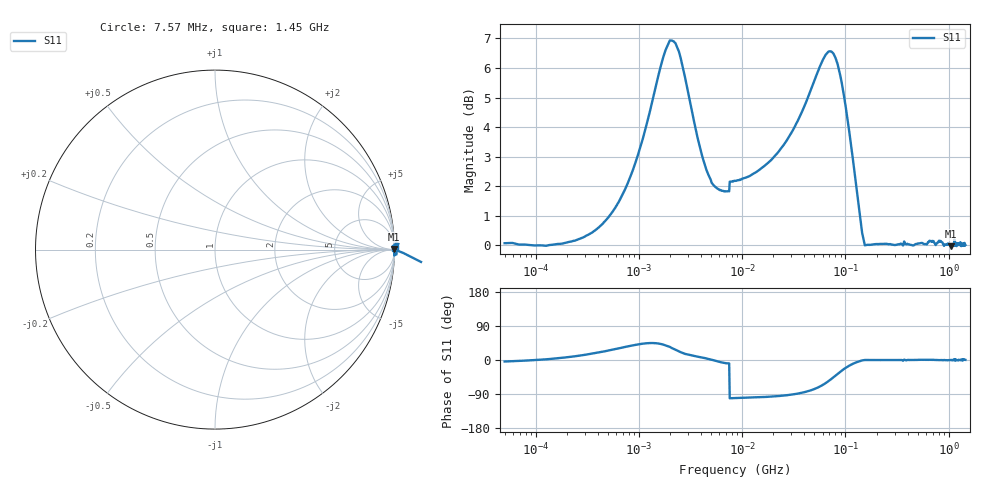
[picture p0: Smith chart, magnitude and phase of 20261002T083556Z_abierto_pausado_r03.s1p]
! piloto_saltos / abierto_pausado / r03
# HZ S RI R 50
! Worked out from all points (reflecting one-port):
!   501 points, 50 kHz to 1.45 GHz, reference 50 ohm
!   lowest |S11| = 0.0 dB at 1.054 GHz (marker M1), VSWR 705.72, Z = 1.57e+04 + j1.75e+04 ohm
!   phase of S11 starts at -4 deg and turns +4 deg over the sweep
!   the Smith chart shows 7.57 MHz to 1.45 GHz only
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50000  1.006 -0.0704
183000  1.002 0.1047
363500  1.008 0.3165
658000  1.02 0.6266
1180000  1.147 1.111
1630000  1.49 1.353
1990000  1.828 1.262
2440000  1.963 0.8172
2890000  1.804 0.4914
3430000  1.588 0.2945
4960000  1.291 0.0295
7300000  1.22 -0.1928
7750000  -0.2415 -1.259
8560000  -0.2357 -1.265
1.81e7  -0.1679 -1.373
3.16e7  -0.0111 -1.577
4.78e7  0.3669 -1.823
6.49e7  1.046 -1.827
7.39e7  1.398 -1.6
8.65e7  1.652 -1.099
9.82e7  1.628 -0.6746
1e8  1.611 -0.6212
1.18e8  1.378 -0.2428
1.36e8  1.148 -0.0688
1.63e8  1.002 -0.00056
4.06e8  1.004 0.00363
1.054e9  0.9972 0.00316
1.45e9  1.002 0.00695
